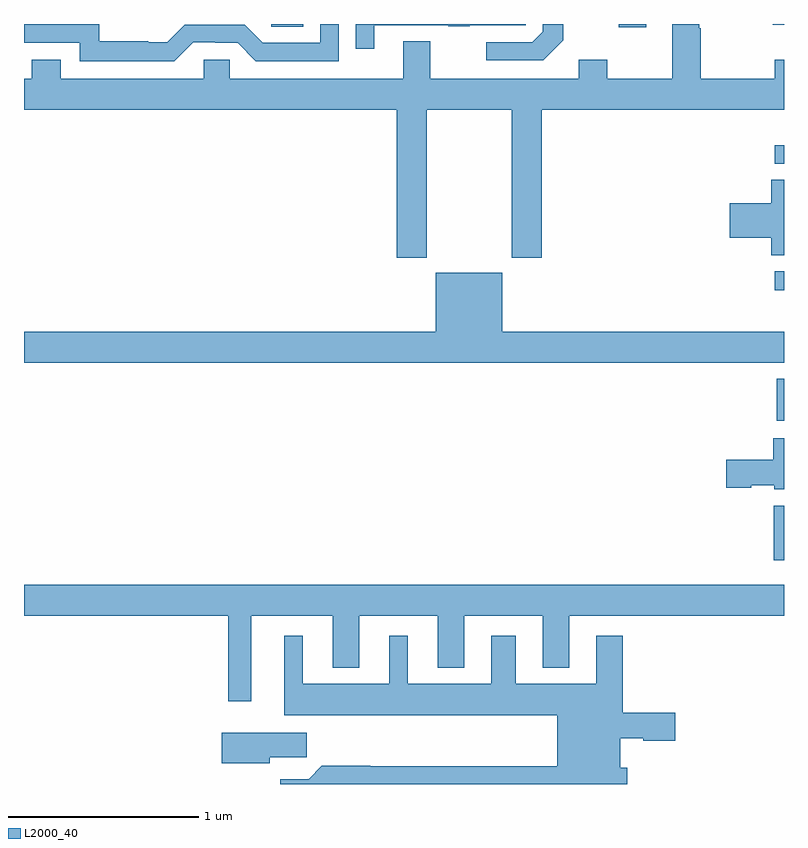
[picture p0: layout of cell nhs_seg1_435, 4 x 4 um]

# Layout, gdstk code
import gdstk
lib = gdstk.Library(unit=1e-6, precision=1e-09)
def R(c, l, rs):  # rectangles x0, y0, x1, y1
    for r in rs: c.add(gdstk.rectangle(r[:2], r[2:], *l))
def P(c, l, *ps):  # polygons
    for p in ps: c.add(gdstk.Polygon(p, *l))
L2000_40 = (2000, 40)

nhs_seg1_435 = lib.new_cell('nhs_seg1_435')
R(nhs_seg1_435, L2000_40, [(138.947,533.376,139,533.663), (138.961,534.11,139,534.331), (138.951,534.799,139,534.897), (138.951,535.464,139,535.56), (138.129,536.181,138.276,536.199), (136.302,536.185,136.47,536.199), (138.941,536.195,139,536.199)])
P(nhs_seg1_435, L2000_40, [(137.121,535.748),(137.566,535.748),(137.566,534.969),(137.726,534.969),(137.726,535.748),(139,535.748),(139,536.011),(138.952,536.011),(138.952,535.912),(138.561,535.912),(138.561,536.177),(138.553,536.177),(138.553,536.199),(138.413,536.199),(138.413,535.912),(138.069,535.912),(138.069,536.011),(137.921,536.011),(137.921,535.912),(137.137,535.912),(137.137,536.107),(136.997,536.107),(136.997,535.912),(136.083,535.912),(136.083,536.01),(135.945,536.01),(135.945,535.912),(135.193,535.912),(135.193,536.011),(135.041,536.011),(135.041,535.912),(135,535.912),(135,535.748),(136.961,535.748),(136.961,534.969),(137.121,534.969)],
  [(136.843,536.193),(137.233,536.193),(137.233,536.188),(137.345,536.188),(137.345,536.193),(137.64,536.193),(137.64,536.199),(136.747,536.199),(136.747,536.07),(136.843,536.07)],
  [(137.839,536.113),(137.839,536.199),(137.73,536.199),(137.73,536.157),(137.676,536.103),(137.433,536.103),(137.433,536.007),(137.733,536.007)],
  [(135.891,536.103),(136.007,536.103),(136.007,536.1),(136.125,536.1),(136.221,536.004),(136.656,536.004),(136.656,536.199),(136.56,536.199),(136.56,536.1),(136.257,536.1),(136.161,536.196),(135.846,536.196),(135.753,536.103),(135.653,536.103),(135.653,536.107),(135.396,536.107),(135.396,536.199),(135,536.199),(135,536.1),(135.294,536.1),(135.294,536.003),(135.791,536.003)],
  [(139,535.379),(138.932,535.379),(138.932,535.256),(138.714,535.256),(138.714,535.073),(138.932,535.073),(138.932,534.982),(139,534.982)],
  [(139,534.58),(137.518,534.58),(137.518,534.889),(137.168,534.889),(137.168,534.58),(135,534.58),(135,534.416),(139,534.416)],
  [(139,534.02),(138.944,534.02),(138.944,533.906),(138.696,533.906),(138.696,533.759),(138.828,533.759),(138.828,533.771),(138.948,533.771),(138.948,533.75),(139,533.75)],
  [(136.195,533.084),(136.625,533.084),(136.625,532.811),(136.765,532.811),(136.765,533.084),(137.177,533.084),(137.177,532.811),(137.317,532.811),(137.317,533.084),(137.729,533.084),(137.729,532.811),(137.869,532.811),(137.869,533.084),(139,533.084),(139,533.248),(135,533.248),(135,533.084),(136.074,533.084),(136.074,532.635),(136.195,532.635)],
  [(138.176,532.284),(138.139,532.284),(138.139,532.439),(138.259,532.439),(138.259,532.427),(138.427,532.427),(138.427,532.574),(138.152,532.574),(138.152,532.978),(138.011,532.978),(138.011,532.726),(137.587,532.726),(137.587,532.978),(137.459,532.978),(137.459,532.726),(137.02,532.726),(137.02,532.978),(136.922,532.978),(136.922,532.726),(136.468,532.726),(136.468,532.978),(136.37,532.978),(136.37,532.562),(137.807,532.562),(137.807,532.292),(136.823,532.292),(136.823,532.295),(136.568,532.295),(136.498,532.225),(136.349,532.225),(136.349,532.199),(138.176,532.199)],
  [(136.294,532.339),(136.489,532.339),(136.489,532.468),(136.04,532.468),(136.04,532.307),(136.294,532.307)])

lib.write_gds('nhs_seg1_435.gds')
